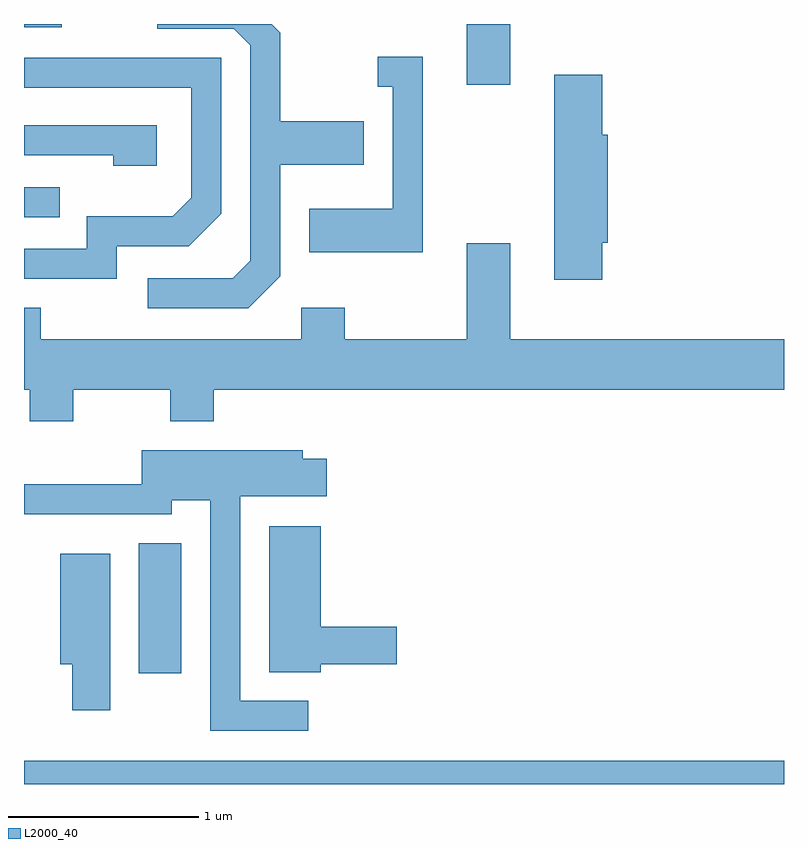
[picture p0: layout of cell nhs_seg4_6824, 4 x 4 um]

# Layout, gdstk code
import gdstk
lib = gdstk.Library(unit=1e-6, precision=1e-09)
def R(c, l, rs):  # rectangles x0, y0, x1, y1
    for r in rs: c.add(gdstk.rectangle(r[:2], r[2:], *l))
def P(c, l, *ps):  # polygons
    for p in ps: c.add(gdstk.Polygon(p, *l))
L2000_40 = (2000, 40)

nhs_seg4_6824 = lib.new_cell('nhs_seg4_6824')
R(nhs_seg4_6824, L2000_40, [(385.611,1305.982,389.611,1306.104), (386.216,1306.566,386.439,1307.249), (385.611,1308.966,385.798,1309.124), (387.941,1309.661,388.169,1309.982), (385.611,1309.966,385.809,1309.982)])
P(nhs_seg4_6824, L2000_40, [(386.959,1308.654),(386.959,1309.241),(387.399,1309.241),(387.399,1309.469),(386.959,1309.469),(386.959,1309.937),(386.914,1309.982),(386.313,1309.982),(386.313,1309.956),(386.714,1309.956),(386.801,1309.869),(386.801,1308.737),(386.709,1308.644),(386.263,1308.644),(386.263,1308.486),(386.792,1308.486)],
  [(387.709,1309.809),(387.473,1309.809),(387.473,1309.651),(387.551,1309.651),(387.551,1309.009),(387.111,1309.009),(387.111,1308.781),(387.709,1308.781)],
  [(386.099,1308.811),(386.477,1308.811),(386.649,1308.984),(386.649,1309.804),(385.611,1309.804),(385.611,1309.646),(386.491,1309.646),(386.491,1309.067),(386.394,1308.969),(385.941,1308.969),(385.941,1308.799),(385.611,1308.799),(385.611,1308.641),(386.099,1308.641)],
  [(388.654,1308.831),(388.684,1308.831),(388.684,1309.399),(388.654,1309.399),(388.654,1309.714),(388.401,1309.714),(388.401,1308.636),(388.654,1308.636)],
  [(386.309,1309.449),(385.611,1309.449),(385.611,1309.291),(386.081,1309.291),(386.081,1309.236),(386.309,1309.236)],
  [(385.869,1308.056),(386.381,1308.056),(386.381,1307.891),(386.609,1307.891),(386.609,1308.056),(389.611,1308.056),(389.611,1308.324),(388.169,1308.324),(388.169,1308.829),(387.941,1308.829),(387.941,1308.324),(387.299,1308.324),(387.299,1308.489),(387.071,1308.489),(387.071,1308.324),(385.699,1308.324),(385.699,1308.489),(385.611,1308.489),(385.611,1308.056),(385.641,1308.056),(385.641,1307.891),(385.869,1307.891)],
  [(387.108,1306.419),(386.749,1306.419),(386.749,1307.496),(387.204,1307.496),(387.204,1307.694),(387.079,1307.694),(387.079,1307.739),(386.231,1307.739),(386.231,1307.559),(385.611,1307.559),(385.611,1307.401),(386.389,1307.401),(386.389,1307.476),(386.591,1307.476),(386.591,1306.261),(387.108,1306.261)],
  [(387.174,1306.611),(387.574,1306.611),(387.574,1306.809),(387.174,1306.809),(387.174,1307.339),(386.901,1307.339),(386.901,1306.571),(387.174,1306.571)],
  [(386.064,1307.194),(385.801,1307.194),(385.801,1306.611),(385.866,1306.611),(385.866,1306.371),(386.064,1306.371)])

lib.write_gds('nhs_seg4_6824.gds')
